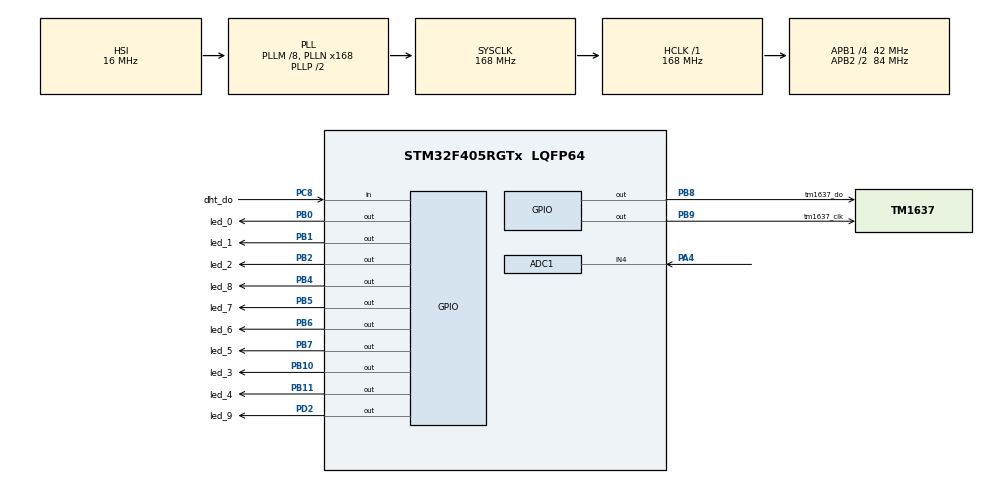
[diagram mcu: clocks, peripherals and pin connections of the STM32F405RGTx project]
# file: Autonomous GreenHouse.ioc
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ADC1.Channel-0\#ChannelRegularConversion=ADC_CHANNEL_4
ADC1.ContinuousConvMode=ENABLE
ADC1.NbrOfConversionFlag=1
ADC1.Rank-0\#ChannelRegularConversion=1
ADC1.SamplingTime-0\#ChannelRegularConversion=ADC_SAMPLETIME_3CYCLES
ADC1.master=1
Mcu.Family=STM32F4
Mcu.Name=STM32F405RGTx
Mcu.Package=LQFP64
NVIC.PriorityGroup=NVIC_PRIORITYGROUP_4
NVIC.TIM3_IRQn=true\:15\:0\:false\:false\:true\:false\:true\:true
NVIC.TimeBase=TIM3_IRQn
NVIC.TimeBaseIP=TIM3
PA13.Mode=Serial_Wire
PA13.Signal=SYS_JTMS-SWDIO
PA14.Mode=Serial_Wire
PA14.Signal=SYS_JTCK-SWCLK
PA4.Signal=ADCx_IN4
PB0.GPIO_Label=led_0
PB0.Signal=GPIO_Output
PB1.GPIO_Label=led_1
PB1.Signal=GPIO_Output
PB10.GPIO_Label=led_3
PB10.Signal=GPIO_Output
PB11.GPIO_Label=led_4
PB11.Signal=GPIO_Output
PB2.GPIO_Label=led_2
PB2.Signal=GPIO_Output
PB4.GPIO_Label=led_8
PB4.Signal=GPIO_Output
PB5.GPIO_Label=led_7
PB5.Signal=GPIO_Output
PB6.GPIO_Label=led_6
PB6.Signal=GPIO_Output
PB7.GPIO_Label=led_5
PB7.Signal=GPIO_Output
PB8.GPIO_Label=tm1637_do
PB8.Signal=GPIO_Output
PB9.GPIO_Label=tm1637_clk
PB9.Signal=GPIO_Output
PC8.GPIO_Label=dht_do
PC8.Signal=GPIO_Input
PD2.GPIO_Label=led_9
PD2.Signal=GPIO_Output
ProjectManager.HeapSize=0x200
ProjectManager.StackSize=0x400
ProjectManager.TargetToolchain=STM32CubeIDE
RCC.48MHZClocksFreq_Value=84000000
RCC.AHBFreq_Value=168000000
RCC.APB1CLKDivider=RCC_HCLK_DIV4
RCC.APB1Freq_Value=42000000
RCC.APB1TimFreq_Value=84000000
RCC.APB2CLKDivider=RCC_HCLK_DIV2
RCC.APB2Freq_Value=84000000
RCC.APB2TimFreq_Value=168000000
RCC.CortexFreq_Value=168000000
RCC.HCLKFreq_Value=168000000
RCC.HSE_VALUE=25000000
RCC.HSI_VALUE=16000000
RCC.LSE_VALUE=32768
RCC.PLLM=8
RCC.PLLN=168
RCC.SYSCLKFreq_VALUE=168000000
RCC.SYSCLKSource=RCC_SYSCLKSOURCE_PLLCLK
RCC.VCOOutputFreq_Value=336000000
SH.ADCx_IN4.0=ADC1_IN4,IN4
TIM1.Prescaler=167
VP_SYS_VS_tim3.Mode=TIM3
VP_TIM1_VS_ClockSourceINT.Mode=Internal
board=custom

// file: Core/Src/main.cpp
/* USER CODE BEGIN Header */
/**
  ******************************************************************************
  * @file           : main.c
  * @brief          : Main program body
  ******************************************************************************
  * @attention
  *
  * Copyright (c) 2025 STMicroelectronics.
  * All rights reserved.
  *
  * This software is licensed under terms that can be found in the LICENSE file
  * in the root directory of this software component.
  * If no LICENSE file comes with this software, it is provided AS-IS.
  *
  ******************************************************************************
  */
/* USER CODE END Header */
extern "C"{
	#include "main.h"
	#include "gpio.h"
	#include "tim.h"
	#include "adc.h"
	#include "tm1637.h"
	#include "4x4_keypad.h"
	#include "lcd.h"
	#include <cstring>
	#include <stdlib.h>
	#include <stdio.h>
	#include "FreeRTOS.h"
	#include "task.h"
	#include "dht11.h"
}

#include "LDRSensor.hpp"
#include "LEDBarGraph.hpp"

TaskHandle_t passwordtask_t;
TaskHandle_t numbergenerator_t;

int disp_counter = 0;
int sens_counter = 0;

char random_num[5];				// array to store 4 digit number

Keypad_TypeDef keypad1 = {
    .row_ports = {GPIOA, GPIOA, GPIOA, GPIOA},
    .row_pins  = {GPIO_PIN_8, GPIO_PIN_9, GPIO_PIN_10, GPIO_PIN_11},
    .col_ports = {GPIOC, GPIOC, GPIOC, GPIOC},
    .col_pins  = {GPIO_PIN_4, GPIO_PIN_5, GPIO_PIN_6, GPIO_PIN_7}
};

TM1637_Display display = {
		.clk_port = tm1637_do_GPIO_Port,
		.clk_pin = tm1637_clk_Pin,
		.dio_port = tm1637_do_GPIO_Port,
		.dio_pin = tm1637_do_Pin,
		.brightness = 7
};

LdrSensor ldr(&hadc1, ADC_CHANNEL_4);

GPIO_TypeDef* led_ports[10] = {
		led_0_GPIO_Port, led_1_GPIO_Port, led_2_GPIO_Port, led_3_GPIO_Port, led_4_GPIO_Port,
		led_5_GPIO_Port, led_6_GPIO_Port, led_7_GPIO_Port, led_8_GPIO_Port, led_9_GPIO_Port
};

uint16_t led_pins[10] = {
		led_0_Pin, led_1_Pin, led_2_Pin, led_3_Pin, led_4_Pin,
		led_5_Pin, led_6_Pin, led_7_Pin, led_8_Pin, led_9_Pin
};

LEDBarGraph led_bargraph(led_ports, led_pins);

DHT11_t dht11;
DHT11_Status status;
const int temp_threshold = 25;
bool isTempHigh = false;
float temperature = 0;
float humidity = 0;
float light = 0;
/* USER CODE END PV */

void SystemClock_Config(void);

/* USER CODE BEGIN 0 */
void PasswordGenerator(void *param)
{
	TickType_t xLastWakeTime;
	const TickType_t _20sec = 20000 / portTICK_PERIOD_MS; // 20 seconds
	xLastWakeTime = xTaskGetTickCount();

	while(1)
	{
	    int number = 1000 + (rand() % 9000);  	 // Range: 1000 to 9999
	    sprintf(random_num, "%04d", number);     // Format as a 4-digit string
	    TM1637_DisplayString(&display, random_num);
	    vTaskDelayUntil(&xLastWakeTime, _20sec);
	}
}

void SensorTask(void *parem)
{
	while(1)
	{
		sens_counter++;
		status = DHT11_Read(&dht11, &humidity, &temperature);
		light = ldr.getLightPercentage();

		if(temperature > temp_threshold)
		{
			isTempHigh = true;
		}else
		{
			isTempHigh = false;
		}

		vTaskDelay(pdMS_TO_TICKS(200));
	}

}

void ActuatorTask(void *param){
	while(1)
	{
		led_bargraph.setLevel(light);
	}
}

void DisplayTask(void *param)
{
    char upper_line[17];

	while(1)
	{
		disp_counter++;
		if (isTempHigh) {
			snprintf(upper_line, 17, "Mild Hot        ");
		}else
		{
			snprintf(upper_line, 17, "Cool            ");
		}
	    lprint(0x80, upper_line);

	    vTaskDelay(pdMS_TO_TICKS(500));
	}
;
}

void AuthenticatorTask(void *pv)
{
	char passkey[5] = {0};
//	const char password[] = "2255";

	LcdFxn(0, 0x01); // Clear screen
	lprint(0x80, "Welcome");

	while (1) {
		char key = Keypad_Scan(&keypad1);
		char temp_pass[5];
		taskENTER_CRITICAL(); // Disable context switch temporarily
		strcpy(temp_pass, random_num);
		taskEXIT_CRITICAL();

		if (key == '*') {
			LcdFxn(0, 0x01);
			lprint(0x80, "Enter Passkey:");
			memset(passkey, 0, sizeof(passkey));
			int i = 0;

			while (1) {
				key = Keypad_Scan(&keypad1);
				if (key) {
					if (key == '#') {
						passkey[i] = '\0';
						LcdFxn(0, 0x01);

						if (strcmp(passkey, temp_pass) == 0) {
							lprint(0x80, "Please come in");

							 TM1637_DisplayString(&display, "0000");

						} else {
							lprint(0x80, "Wrong");
						}

						vTaskDelay(pdMS_TO_TICKS(1000));
						LcdFxn(0, 0x01);
						lprint(0x80, "Welcome");
						break;
					}

					if (i < 4) {
						passkey[i++] = key;
						lprint(0xC0 + i - 1, "*");
					}
					while (Keypad_Scan(&keypad1)); // Wait for release
					vTaskDelay(pdMS_TO_TICKS(100)); // Debounce
				}

				vTaskDelay(pdMS_TO_TICKS(10));
			}
		}

		vTaskDelay(pdMS_TO_TICKS(50)); // Polling delay
	}
}

/* USER CODE END 0 */

int main(void)
{

  /* MCU Configuration--------------------------------------------------------*/

  /* Reset of all peripherals, Initializes the Flash interface and the Systick. */
  HAL_Init();

  /* Configure the system clock */
  SystemClock_Config();
  MX_TIM1_Init();
  MX_ADC1_Init();

  /* Initialize all configured peripherals */
  MX_GPIO_Init();
  /* USER CODE BEGIN 2 */
  Keypad_Init(&keypad1);
  TM1637_Init(&display);
  LcdInit();
  DHT11_Init(&dht11, dht_do_GPIO_Port, dht_do_Pin, &htim1);
  HAL_TIM_Base_Start(&htim1);

  // 2. Initialize the specific ADC channel for the LDR
  if (ldr.init() != HAL_OK) {
      Error_Handler();
  }

  /* USER CODE END 2 */
  srand(HAL_GetTick());
  xTaskCreate(PasswordGenerator, "PassGen", 128, NULL, 1, &passwordtask_t);
  xTaskCreate(AuthenticatorTask, "authenticator", 128, NULL, 1, &numbergenerator_t);
  xTaskCreate(SensorTask, "sensor task", 128, NULL, 3, NULL);
  xTaskCreate(ActuatorTask, "actuator task", 128, NULL, 2, NULL);
  xTaskCreate(DisplayTask, "display task", 128, NULL, 3, NULL);
  vTaskStartScheduler();
  /* Infinite loop */
  while (1)
  {
  }
}

void SystemClock_Config(void)
{
  RCC_OscInitTypeDef RCC_OscInitStruct = {0};
  RCC_ClkInitTypeDef RCC_ClkInitStruct = {0};

  /** Configure the main internal regulator output voltage
  */
  __HAL_RCC_PWR_CLK_ENABLE();
  __HAL_PWR_VOLTAGESCALING_CONFIG(PWR_REGULATOR_VOLTAGE_SCALE1);

  /** Initializes the RCC Oscillators according to the specified parameters
  * in the RCC_OscInitTypeDef structure.
  */
  RCC_OscInitStruct.OscillatorType = RCC_OSCILLATORTYPE_HSI;
  RCC_OscInitStruct.HSIState = RCC_HSI_ON;
  RCC_OscInitStruct.HSICalibrationValue = RCC_HSICALIBRATION_DEFAULT;
  RCC_OscInitStruct.PLL.PLLState = RCC_PLL_ON;
  RCC_OscInitStruct.PLL.PLLSource = RCC_PLLSOURCE_HSI;
  RCC_OscInitStruct.PLL.PLLM = 8;
  RCC_OscInitStruct.PLL.PLLN = 168;
  RCC_OscInitStruct.PLL.PLLP = RCC_PLLP_DIV2;
  RCC_OscInitStruct.PLL.PLLQ = 4;
  if (HAL_RCC_OscConfig(&RCC_OscInitStruct) != HAL_OK)
  {
    Error_Handler();
  }

  /** Initializes the CPU, AHB and APB buses clocks
  */
  RCC_ClkInitStruct.ClockType = RCC_CLOCKTYPE_HCLK|RCC_CLOCKTYPE_SYSCLK
                              |RCC_CLOCKTYPE_PCLK1|RCC_CLOCKTYPE_PCLK2;
  RCC_ClkInitStruct.SYSCLKSource = RCC_SYSCLKSOURCE_PLLCLK;
  RCC_ClkInitStruct.AHBCLKDivider = RCC_SYSCLK_DIV1;
  RCC_ClkInitStruct.APB1CLKDivider = RCC_HCLK_DIV4;
  RCC_ClkInitStruct.APB2CLKDivider = RCC_HCLK_DIV2;

  if (HAL_RCC_ClockConfig(&RCC_ClkInitStruct, FLASH_LATENCY_5) != HAL_OK)
  {
    Error_Handler();
  }
}

void HAL_TIM_PeriodElapsedCallback(TIM_HandleTypeDef *htim)
{
  if (htim->Instance == TIM3) {
    HAL_IncTick();
  }
}

void Error_Handler(void)
{
  __disable_irq();
  while (1)
  {
  }
}
